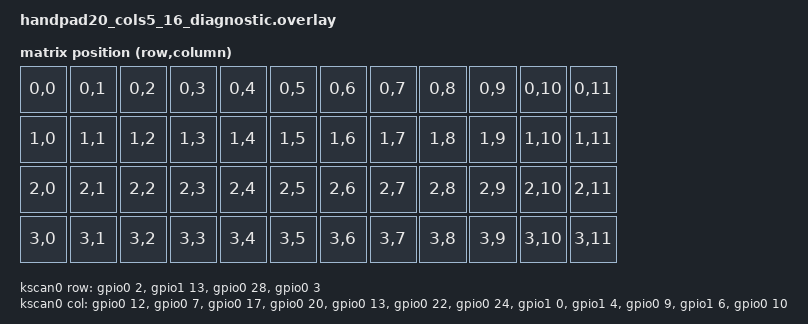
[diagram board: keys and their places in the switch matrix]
#include <dt-bindings/zmk/matrix_transform.h>

/ {
    chosen {
        zmk,kscan = &kscan0;
        zmk,matrix_transform = &default_transform;
    };

    kscan0: kscan {
        compatible = "zmk,kscan-gpio-matrix";
        diode-direction = "col2row";
        wakeup-source;

        col-gpios = <&gpio0 12 GPIO_ACTIVE_HIGH>,  /* COL5 */
                    <&gpio0 7 GPIO_ACTIVE_HIGH>,   /* COL6 */
                    <&gpio0 17 GPIO_ACTIVE_HIGH>,  /* COL7 */
                    <&gpio0 20 GPIO_ACTIVE_HIGH>,  /* COL8 */
                    <&gpio0 13 GPIO_ACTIVE_HIGH>,  /* COL9 */
                    <&gpio0 22 GPIO_ACTIVE_HIGH>,  /* COL10 */
                    <&gpio0 24 GPIO_ACTIVE_HIGH>,  /* COL11 */
                    <&gpio1 0 GPIO_ACTIVE_HIGH>,   /* COL12 */
                    <&gpio1 4 GPIO_ACTIVE_HIGH>,   /* COL13 */
                    <&gpio0 9 GPIO_ACTIVE_HIGH>,   /* COL14 */
                    <&gpio1 6 GPIO_ACTIVE_HIGH>,   /* COL15 */
                    <&gpio0 10 GPIO_ACTIVE_HIGH>;  /* COL16 */

        row-gpios = <&gpio0 2 (GPIO_ACTIVE_HIGH | GPIO_PULL_DOWN)>,  /* ROW1 */
                    <&gpio1 13 (GPIO_ACTIVE_HIGH | GPIO_PULL_DOWN)>, /* ROW2 */
                    <&gpio0 28 (GPIO_ACTIVE_HIGH | GPIO_PULL_DOWN)>, /* ROW3 */
                    <&gpio0 3 (GPIO_ACTIVE_HIGH | GPIO_PULL_DOWN)>;  /* ROW4 */
    };

    default_transform: keymap_transform0 {
        compatible = "zmk,matrix-transform";
        columns = <12>;
        rows = <4>;

        map = <
            RC(0,0)  RC(0,1)  RC(0,2)  RC(0,3)  RC(0,4)  RC(0,5)  RC(0,6)  RC(0,7)  RC(0,8)  RC(0,9)  RC(0,10) RC(0,11)
            RC(1,0)  RC(1,1)  RC(1,2)  RC(1,3)  RC(1,4)  RC(1,5)  RC(1,6)  RC(1,7)  RC(1,8)  RC(1,9)  RC(1,10) RC(1,11)
            RC(2,0)  RC(2,1)  RC(2,2)  RC(2,3)  RC(2,4)  RC(2,5)  RC(2,6)  RC(2,7)  RC(2,8)  RC(2,9)  RC(2,10) RC(2,11)
            RC(3,0)  RC(3,1)  RC(3,2)  RC(3,3)  RC(3,4)  RC(3,5)  RC(3,6)  RC(3,7)  RC(3,8)  RC(3,9)  RC(3,10) RC(3,11)
        >;
    };
};
